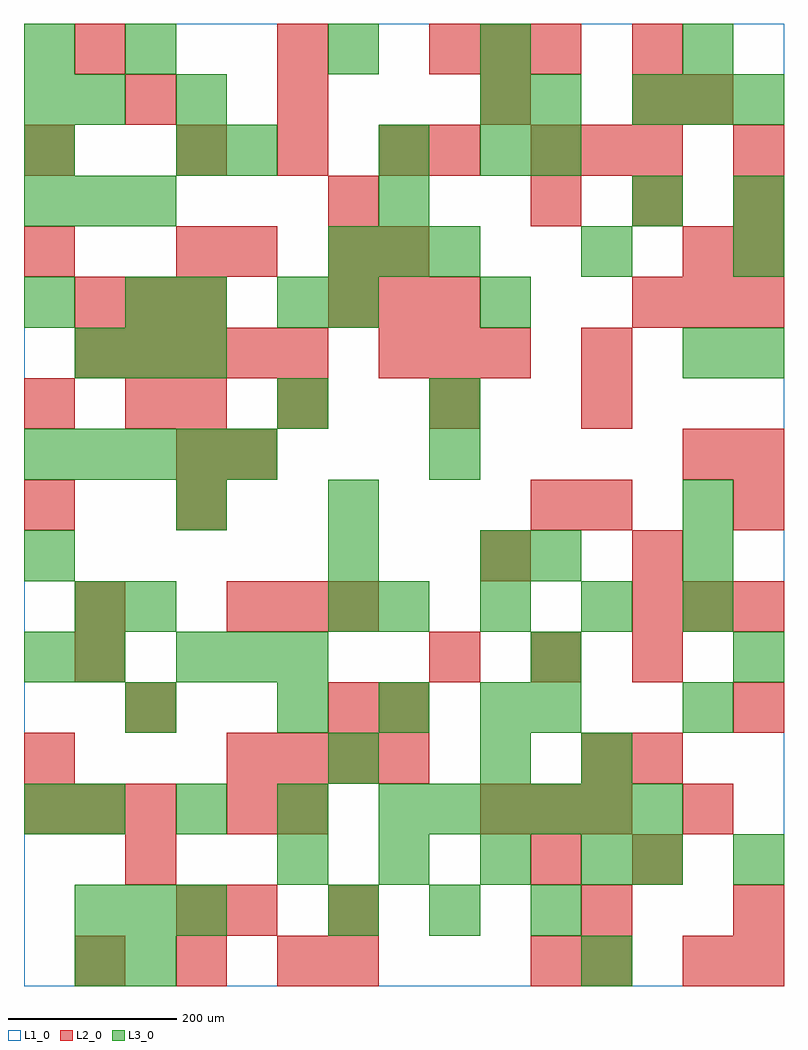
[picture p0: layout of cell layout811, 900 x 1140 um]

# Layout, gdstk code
import gdstk
lib = gdstk.Library(unit=1e-6, precision=1e-09)
def R(c, l, rs):  # rectangles x0, y0, x1, y1
    for r in rs: c.add(gdstk.rectangle(r[:2], r[2:], *l))
def A(c, l, x, y, w, h, nx, ny, dx, dy):  # array of equal rectangles
    R(c, l, [(x+i*dx, y+j*dy, x+i*dx+w, y+j*dy+h) for i in range(nx) for j in range(ny)])
L1_0 = (1, 0)
L2_0 = (2, 0)
L3_0 = (3, 0)

layout811 = lib.new_cell('layout811')
R(layout811, L1_0, [(0,0,900,1140)])
A(layout811, L2_0, 60, 0, 60, 60, 3, 1, 120, 0)
A(layout811, L2_0, 840, 60, 60, 60, 1, 3, 0, 240)
A(layout811, L2_0, 0, 180, 60, 60, 3, 1, 60, 0)
A(layout811, L2_0, 540, 180, 60, 60, 3, 1, 60, 0)
A(layout811, L2_0, 240, 240, 60, 60, 4, 1, 60, 0)
A(layout811, L2_0, 120, 300, 60, 60, 1, 3, 0, 360)
A(layout811, L2_0, 480, 360, 60, 60, 3, 1, 120, 0)
A(layout811, L2_0, 240, 420, 60, 60, 3, 1, 60, 0)
A(layout811, L2_0, 720, 420, 60, 60, 3, 2, 60, 360)
A(layout811, L2_0, 180, 540, 60, 60, 1, 3, 0, 60)
A(layout811, L2_0, 300, 660, 60, 60, 3, 1, 180, 0)
A(layout811, L2_0, 60, 720, 60, 60, 5, 1, 60, 0)
A(layout811, L2_0, 420, 720, 60, 60, 3, 1, 60, 0)
A(layout811, L2_0, 60, 780, 60, 60, 3, 1, 60, 0)
A(layout811, L2_0, 360, 780, 60, 60, 3, 1, 60, 0)
A(layout811, L2_0, 600, 900, 60, 60, 3, 1, 120, 0)
A(layout811, L2_0, 180, 960, 60, 60, 3, 1, 120, 0)
A(layout811, L2_0, 600, 960, 60, 60, 3, 1, 60, 0)
A(layout811, L2_0, 480, 1080, 60, 60, 3, 1, 60, 0)
R(layout811, L2_0, [(360,0,420,60), (600,0,660,60), (660,0,720,60), (780,0,840,60), (840,0,900,60), (180,60,240,120), (240,60,300,120), (360,60,420,120), (660,60,720,120), (120,120,180,180), (600,120,660,180), (720,120,780,180), (240,180,300,240), (300,180,360,240), (780,180,840,240), (0,240,60,300), (660,240,720,300), (720,240,780,300), (360,300,420,360), (420,300,480,360), (60,360,120,420), (60,420,120,480), (540,480,600,540), (720,480,780,540), (0,540,60,600), (600,540,660,600), (660,540,720,600), (240,600,300,660), (780,600,840,660), (840,600,900,660), (0,660,60,720), (660,720,720,780), (0,840,60,900), (180,840,240,900), (240,840,300,900), (360,840,420,900), (420,840,480,900), (780,840,840,900), (840,840,900,900), (360,900,420,960), (0,960,60,1020), (480,960,540,1020), (840,960,900,1020), (300,1020,360,1080), (540,1020,600,1080), (720,1020,780,1080), (780,1020,840,1080), (60,1080,120,1140), (300,1080,360,1140), (720,1080,780,1140)])
A(layout811, L3_0, 60, 60, 60, 60, 3, 2, 60, 660)
A(layout811, L3_0, 360, 60, 60, 60, 3, 1, 120, 0)
A(layout811, L3_0, 300, 120, 60, 60, 4, 1, 120, 0)
A(layout811, L3_0, 60, 180, 60, 60, 4, 1, 120, 0)
A(layout811, L3_0, 480, 180, 60, 60, 5, 1, 60, 0)
A(layout811, L3_0, 300, 300, 60, 60, 3, 1, 120, 0)
A(layout811, L3_0, 180, 360, 60, 60, 3, 1, 60, 0)
A(layout811, L3_0, 360, 420, 60, 60, 1, 3, 0, 60)
A(layout811, L3_0, 420, 420, 60, 60, 4, 1, 120, 0)
A(layout811, L3_0, 0, 600, 60, 60, 5, 1, 60, 0)
A(layout811, L3_0, 360, 840, 60, 60, 3, 1, 60, 0)
A(layout811, L3_0, 0, 900, 60, 60, 3, 1, 60, 0)
A(layout811, L3_0, 0, 960, 60, 60, 1, 3, 0, 60)
A(layout811, L3_0, 540, 960, 60, 60, 1, 3, 0, 60)
A(layout811, L3_0, 720, 1020, 60, 60, 3, 1, 60, 0)
R(layout811, L3_0, [(60,0,120,60), (120,0,180,60), (660,0,720,60), (720,120,780,180), (840,120,900,180), (0,180,60,240), (360,240,420,300), (540,240,600,300), (660,240,720,300), (120,300,180,360), (600,300,660,360), (780,300,840,360), (0,360,60,420), (60,360,120,420), (600,360,660,420), (840,360,900,420), (60,420,120,480), (120,420,180,480), (0,480,60,540), (540,480,600,540), (600,480,660,540), (780,480,840,540), (180,540,240,600), (780,540,840,600), (480,600,540,660), (300,660,360,720), (480,660,540,720), (780,720,840,780), (840,720,900,780), (0,780,60,840), (120,780,180,840), (180,780,240,840), (300,780,360,840), (360,780,420,840), (540,780,600,840), (660,840,720,900), (840,840,900,900), (420,900,480,960), (720,900,780,960), (840,900,900,960), (180,960,240,1020), (240,960,300,1020), (420,960,480,1020), (600,960,660,1020), (60,1020,120,1080), (180,1020,240,1080), (600,1020,660,1080), (120,1080,180,1140), (360,1080,420,1140), (780,1080,840,1140)])

lib.write_gds('layout811.gds')
